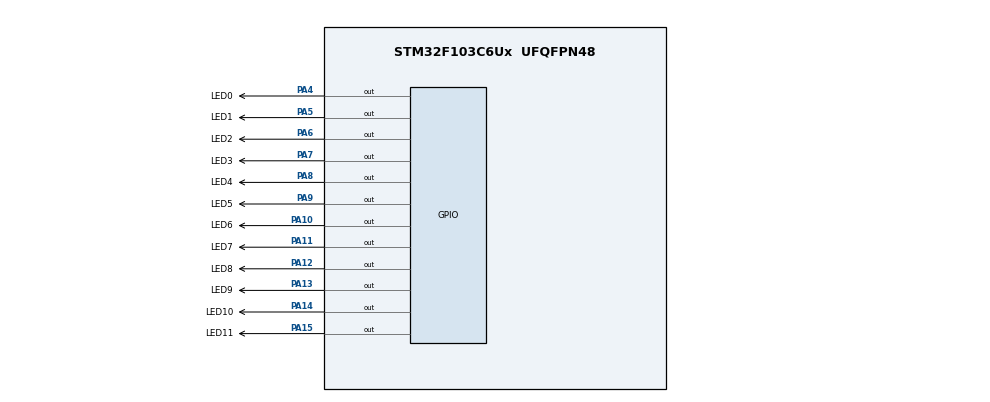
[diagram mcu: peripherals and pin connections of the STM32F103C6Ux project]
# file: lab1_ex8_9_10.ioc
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Mcu.Family=STM32F1
Mcu.Name=STM32F103C6Ux
Mcu.Package=UFQFPN48
NVIC.PriorityGroup=NVIC_PRIORITYGROUP_4
PA10.GPIO_Label=LED6
PA10.Signal=GPIO_Output
PA11.GPIO_Label=LED7
PA11.Signal=GPIO_Output
PA12.GPIO_Label=LED8
PA12.Signal=GPIO_Output
PA13.GPIO_Label=LED9
PA13.Signal=GPIO_Output
PA14.GPIO_Label=LED10
PA14.Signal=GPIO_Output
PA15.GPIO_Label=LED11
PA15.Signal=GPIO_Output
PA4.GPIO_Label=LED0
PA4.Signal=GPIO_Output
PA5.GPIO_Label=LED1
PA5.Signal=GPIO_Output
PA6.GPIO_Label=LED2
PA6.Signal=GPIO_Output
PA7.GPIO_Label=LED3
PA7.Signal=GPIO_Output
PA8.GPIO_Label=LED4
PA8.Signal=GPIO_Output
PA9.GPIO_Label=LED5
PA9.Signal=GPIO_Output
ProjectManager.HeapSize=0x200
ProjectManager.StackSize=0x400
ProjectManager.TargetToolchain=STM32CubeIDE
RCC.APB1Freq_Value=8000000
RCC.APB2Freq_Value=8000000
VP_SYS_VS_ND.Mode=No_Debug
board=custom

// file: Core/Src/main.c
/* USER CODE BEGIN Header */
/**
  ******************************************************************************
  * @file           : main.c
  * @brief          : Main program body
  ******************************************************************************
  * @attention
  *
  * <h2><center>&copy; Copyright (c) 2025 STMicroelectronics.
  * All rights reserved.</center></h2>
  *
  * This software component is licensed by ST under BSD 3-Clause license,
  * the "License"; You may not use this file except in compliance with the
  * License. You may obtain a copy of the License at:
  *                        opensource.org/licenses/BSD-3-Clause
  *
  ******************************************************************************
  */
/* USER CODE END Header */
#include "main.h"

void SystemClock_Config(void);
static void MX_GPIO_Init(void);

int main(void)
{

  /* MCU Configuration--------------------------------------------------------*/

  /* Reset of all peripherals, Initializes the Flash interface and the Systick. */
  HAL_Init();

  /* Configure the system clock */
  SystemClock_Config();

  /* Initialize all configured peripherals */
  MX_GPIO_Init();

  /* Infinite loop */
  /* USER CODE BEGIN WHILE */

  const uint16_t led_pins[12] = {
      LED0_Pin, LED1_Pin, LED2_Pin, LED3_Pin,
	  LED4_Pin, LED5_Pin, LED6_Pin, LED7_Pin,
	  LED8_Pin, LED9_Pin, LED10_Pin, LED11_Pin
  };

  GPIO_TypeDef* led_ports[12] = {
	  LED0_GPIO_Port, LED1_GPIO_Port, LED2_GPIO_Port, LED3_GPIO_Port,
	  LED4_GPIO_Port, LED5_GPIO_Port, LED6_GPIO_Port, LED7_GPIO_Port,
	  LED8_GPIO_Port, LED9_GPIO_Port, LED10_GPIO_Port, LED11_GPIO_Port
  };

  //EX7
  void clearAllClock()
  {
	  for (int i = 0; i < 12; i++)
	  {
	  		  HAL_GPIO_WritePin(led_ports[i], led_pins[i], GPIO_PIN_SET);
	  }
  }

  //EX8
  void setNumberOnClock(int num)
  {
	  if(num<0 || num>11)	return;
	  HAL_GPIO_WritePin(led_ports[num], led_pins[num], GPIO_PIN_RESET);
  }

  //EX9
  void clearNumberOnClock(int num)
  {
	  if(num<0 || num>11)	return;
	  HAL_GPIO_WritePin(led_ports[num], led_pins[num], GPIO_PIN_SET);
  }

  //EX10
  void displayClock(int hour, int minute, int second)
  {
      clearAllClock();

      int h_pos = hour % 12;

      int m_pos = minute / 5;
      int s_pos = second / 5;

      setNumberOnClock(h_pos);
      setNumberOnClock(m_pos);
      setNumberOnClock(s_pos);
  }

  int hour = 0;
  int minute = 0;
  int second = 0;

  while (1)
  {
	  displayClock(hour, minute, second);
	  second++;
	  if(second >= 60)
	  {
		  second = 0;
		  minute++;
		  if(minute >= 60)
		  {
			  minute = 0;
	          hour++;
	          if(hour >= 24)  	  hour = 0;
	      }
	  }
	  HAL_Delay(1000);
    /* USER CODE END WHILE */

  }
}

void SystemClock_Config(void)
{
  RCC_OscInitTypeDef RCC_OscInitStruct = {0};
  RCC_ClkInitTypeDef RCC_ClkInitStruct = {0};

  /** Initializes the RCC Oscillators according to the specified parameters
  * in the RCC_OscInitTypeDef structure.
  */
  RCC_OscInitStruct.OscillatorType = RCC_OSCILLATORTYPE_HSI;
  RCC_OscInitStruct.HSIState = RCC_HSI_ON;
  RCC_OscInitStruct.HSICalibrationValue = RCC_HSICALIBRATION_DEFAULT;
  RCC_OscInitStruct.PLL.PLLState = RCC_PLL_NONE;
  if (HAL_RCC_OscConfig(&RCC_OscInitStruct) != HAL_OK)
  {
    Error_Handler();
  }
  /** Initializes the CPU, AHB and APB buses clocks
  */
  RCC_ClkInitStruct.ClockType = RCC_CLOCKTYPE_HCLK|RCC_CLOCKTYPE_SYSCLK
                              |RCC_CLOCKTYPE_PCLK1|RCC_CLOCKTYPE_PCLK2;
  RCC_ClkInitStruct.SYSCLKSource = RCC_SYSCLKSOURCE_HSI;
  RCC_ClkInitStruct.AHBCLKDivider = RCC_SYSCLK_DIV1;
  RCC_ClkInitStruct.APB1CLKDivider = RCC_HCLK_DIV1;
  RCC_ClkInitStruct.APB2CLKDivider = RCC_HCLK_DIV1;

  if (HAL_RCC_ClockConfig(&RCC_ClkInitStruct, FLASH_LATENCY_0) != HAL_OK)
  {
    Error_Handler();
  }
}

static void MX_GPIO_Init(void)
{
  GPIO_InitTypeDef GPIO_InitStruct = {0};

  /* GPIO Ports Clock Enable */
  __HAL_RCC_GPIOA_CLK_ENABLE();

  /*Configure GPIO pin Output Level */
  HAL_GPIO_WritePin(GPIOA, LED0_Pin|LED1_Pin|LED2_Pin|LED3_Pin
                          |LED4_Pin|LED5_Pin|LED6_Pin|LED7_Pin
                          |LED8_Pin|LED9_Pin|LED10_Pin|LED11_Pin, GPIO_PIN_RESET);

  /*Configure GPIO pins : LED0_Pin LED1_Pin LED2_Pin LED3_Pin
                           LED4_Pin LED5_Pin LED6_Pin LED7_Pin
                           LED8_Pin LED9_Pin LED10_Pin LED11_Pin */
  GPIO_InitStruct.Pin = LED0_Pin|LED1_Pin|LED2_Pin|LED3_Pin
                          |LED4_Pin|LED5_Pin|LED6_Pin|LED7_Pin
                          |LED8_Pin|LED9_Pin|LED10_Pin|LED11_Pin;
  GPIO_InitStruct.Mode = GPIO_MODE_OUTPUT_PP;
  GPIO_InitStruct.Pull = GPIO_NOPULL;
  GPIO_InitStruct.Speed = GPIO_SPEED_FREQ_LOW;
  HAL_GPIO_Init(GPIOA, &GPIO_InitStruct);

}

void Error_Handler(void)
{
  __disable_irq();
  while (1)
  {
  }
}

/************************ (C) COPYRIGHT STMicroelectronics *****END OF FILE****/
